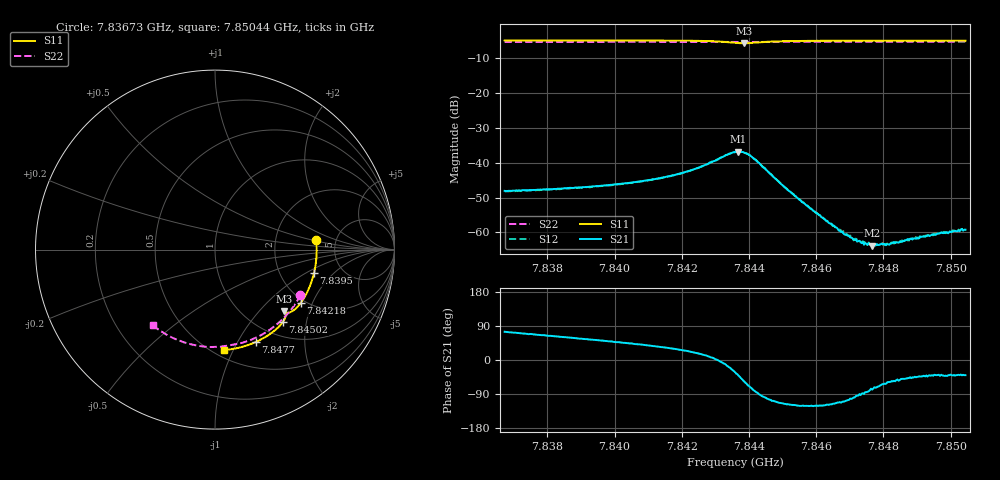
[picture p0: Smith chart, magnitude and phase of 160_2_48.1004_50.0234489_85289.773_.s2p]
#  HZ  S  RI  R  50.00
! Rohde & Schwarz Vector Network Analyzer
! Rohde-Schwarz,ZNB20-2Port,1311601062101988,3.16
! Created: UTC 12/23/2023, 3:50:39 AM
! freq[Hz]  re:S11  im:S11  re:S21  im:S21  re:S12  im:S12  re:S22  im:S22
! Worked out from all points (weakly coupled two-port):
!   401 points, 7.83673 GHz to 7.85044 GHz, reference 50 ohm
!   highest |S21| = -36.79 dB at 7.84369 GHz (marker M1); lowest = -63.8 dB at 7.84766 GHz (marker M2)
!   lowest |S11| = -5.7 dB at 7.84386 GHz (marker M3), VSWR 3.14, Z = 74.2 - j69.5 ohm
!   |S11| at or under -10 dB: nowhere
!   |S22| runs from -5.4 to -5.3 dB; largest |S21 - S12| = 0.00041
!   S11 on the Smith chart (normalised r, x): 7.83673 GHz: 3.51, +0.55; 7.8395 GHz: 3.11, -1.20; 7.84218 GHz: 1.88, -1.65; 7.84502 GHz: 1.26, -1.47; 7.8477 GHz: 0.80, -1.20; 7.85044 GHz: 0.56, -0.92
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7.836728e9  0.5635 0.0536  0.00105 0.0038  0.0011 0.00369  0.4761 -0.2536
7.839025e9  0.5581 -0.0985  0.00247 0.00368  0.00244 0.00362  0.3811 -0.3827
7.839505e9  0.5516 -0.1303  0.00283 0.00366  0.00281 0.00362  0.3567 -0.4059
7.841321e9  0.5092 -0.2463  0.0049 0.00343  0.00482 0.00345  0.2525 -0.4787
7.842178e9  0.4769 -0.2984  0.00692 0.003  0.00686 0.00299  0.1976 -0.5038
7.843069e9  0.4272 -0.3453  0.0111 -7.77e-05  0.0111 9.36e-05  0.1378 -0.5226
7.843583e9  0.3916 -0.3495  0.012 -0.00753  0.0121 -0.00746  0.1035 -0.5291
7.843686e9  0.3878 -0.347  0.0109 -0.00951  0.0108 -0.00941  0.0968 -0.5301
7.843858e9  0.387 -0.3433  0.00763 -0.0117  0.00773 -0.0115  0.086 -0.532
7.843995e9  0.3899 -0.3437  0.00472 -0.0121  0.00486 -0.0121  0.0775 -0.5338
7.844235e9  0.395 -0.3534  0.000748 -0.0105  0.000787 -0.0106  0.0615 -0.537
7.845023e9  0.3768 -0.4052  -0.00194 -0.00419  -0.00193 -0.00422  0.00649 -0.5425
7.84588e9  0.3341 -0.4493  -0.0011 -0.00182  -0.00107 -0.00183  -0.054 -0.5408
7.846497e9  0.3 -0.475  -0.000537 -0.00114  -0.00056 -0.0011  -0.097 -0.5351
7.846874e9  0.2782 -0.4886  -0.000282 -0.00089  -0.000278 -0.00088  -0.1231 -0.5302
7.847285e9  0.2537 -0.5022  -1.02e-06 -0.000758  -3.11e-05 -0.000729  -0.151 -0.5231
7.847662e9  0.2308 -0.5134  0.000133 -0.00063  0.000134 -0.000638  -0.1764 -0.5153
7.847696e9  0.2287 -0.5142  0.000165 -0.000644  0.000198 -0.000633  -0.1786 -0.5146
7.848176e9  0.199 -0.5267  0.000355 -0.000565  0.000337 -0.000588  -0.21 -0.5027
7.84917e9  0.1357 -0.5463  0.00064 -0.000592  0.000652 -0.000622  -0.2726 -0.4724
7.850096e9  0.0752 -0.5574  0.000803 -0.000664  0.000799 -0.00069  -0.3274 -0.4371
7.850438e9  0.0525 -0.5599  0.000835 -0.000704  0.000845 -0.000692  -0.3463 -0.4226
